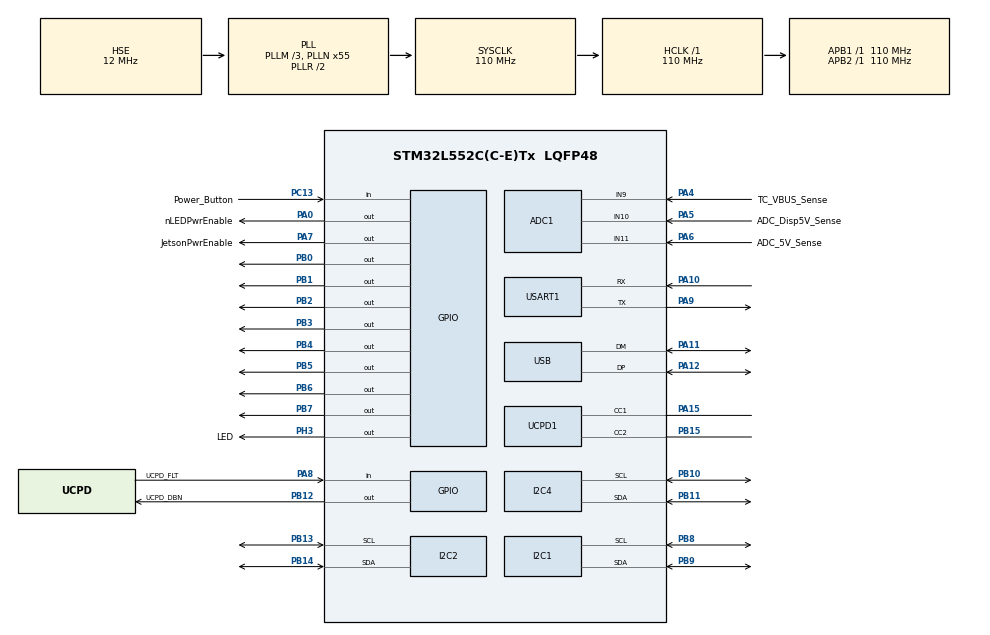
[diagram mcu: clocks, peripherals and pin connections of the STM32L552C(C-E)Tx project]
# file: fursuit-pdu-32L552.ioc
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ADC1.Channel-1\#ChannelRegularConversion=ADC_CHANNEL_9
ADC1.Channel-2\#ChannelRegularConversion=ADC_CHANNEL_10
ADC1.Channel-3\#ChannelRegularConversion=ADC_CHANNEL_11
ADC1.ClockPrescaler=ADC_CLOCK_ASYNC_DIV16
ADC1.ContinuousConvMode=ENABLE
ADC1.DMAContinuousRequests=ENABLE
ADC1.EOCSelection=ADC_EOC_SEQ_CONV
ADC1.NbrOfConversion=3
ADC1.NbrOfConversionFlag=1
ADC1.OffsetNumber-1\#ChannelRegularConversion=ADC_OFFSET_NONE
ADC1.OffsetNumber-2\#ChannelRegularConversion=ADC_OFFSET_NONE
ADC1.OffsetNumber-3\#ChannelRegularConversion=ADC_OFFSET_NONE
ADC1.Overrun=ADC_OVR_DATA_OVERWRITTEN
ADC1.Rank-1\#ChannelRegularConversion=1
ADC1.Rank-2\#ChannelRegularConversion=2
ADC1.Rank-3\#ChannelRegularConversion=3
ADC1.SamplingTime-1\#ChannelRegularConversion=ADC_SAMPLETIME_247CYCLES_5
ADC1.SamplingTime-2\#ChannelRegularConversion=ADC_SAMPLETIME_247CYCLES_5
ADC1.SamplingTime-3\#ChannelRegularConversion=ADC_SAMPLETIME_247CYCLES_5
ADC1.master=1
Dma.ADC1.4.Channel_PRIV_NPRIV=DMA_CHANNEL_NPRIV_DISABLE
Dma.ADC1.4.Direction=DMA_PERIPH_TO_MEMORY
Dma.ADC1.4.EventEnable=DISABLE
Dma.ADC1.4.Instance=DMA1_Channel4
Dma.ADC1.4.MemDataAlignment=DMA_MDATAALIGN_WORD
Dma.ADC1.4.MemInc=DMA_MINC_ENABLE
Dma.ADC1.4.Mode=DMA_CIRCULAR
Dma.ADC1.4.PeriphDataAlignment=DMA_PDATAALIGN_HALFWORD
Dma.ADC1.4.PeriphInc=DMA_PINC_DISABLE
Dma.ADC1.4.Polarity=HAL_DMAMUX_REQ_GEN_RISING
Dma.ADC1.4.Priority=DMA_PRIORITY_LOW
Dma.ADC1.4.RequestNumber=1
Dma.ADC1.4.SignalID=NONE
Dma.ADC1.4.SyncEnable=DISABLE
Dma.ADC1.4.SyncPolarity=HAL_DMAMUX_SYNC_NO_EVENT
Dma.ADC1.4.SyncRequestNumber=1
Dma.ADC1.4.SyncSignalID=NONE
Dma.I2C1_TX.3.Channel_PRIV_NPRIV=DMA_CHANNEL_NPRIV_DISABLE
Dma.I2C1_TX.3.Direction=DMA_MEMORY_TO_PERIPH
Dma.I2C1_TX.3.EventEnable=DISABLE
Dma.I2C1_TX.3.Instance=DMA1_Channel3
Dma.I2C1_TX.3.MemDataAlignment=DMA_MDATAALIGN_BYTE
Dma.I2C1_TX.3.MemInc=DMA_MINC_ENABLE
Dma.I2C1_TX.3.Mode=DMA_NORMAL
Dma.I2C1_TX.3.PeriphDataAlignment=DMA_PDATAALIGN_BYTE
Dma.I2C1_TX.3.PeriphInc=DMA_PINC_DISABLE
Dma.I2C1_TX.3.Polarity=HAL_DMAMUX_REQ_GEN_RISING
Dma.I2C1_TX.3.Priority=DMA_PRIORITY_LOW
Dma.I2C1_TX.3.RequestNumber=1
Dma.I2C1_TX.3.SignalID=NONE
Dma.I2C1_TX.3.SyncEnable=DISABLE
Dma.I2C1_TX.3.SyncPolarity=HAL_DMAMUX_SYNC_NO_EVENT
Dma.I2C1_TX.3.SyncRequestNumber=1
Dma.I2C1_TX.3.SyncSignalID=NONE
Dma.Request0=UCPD1_RX
Dma.Request1=UCPD1_TX
Dma.Request2=USART1_TX
Dma.Request3=I2C1_TX
Dma.Request4=ADC1
Dma.Request5=TIM2_CH2
Dma.Request6=TIM2_CH3
Dma.Request7=TIM2_CH4
Dma.TIM2_CH2.5.Channel_PRIV_NPRIV=DMA_CHANNEL_NPRIV_DISABLE
Dma.TIM2_CH2.5.Direction=DMA_MEMORY_TO_PERIPH
Dma.TIM2_CH2.5.EventEnable=DISABLE
Dma.TIM2_CH2.5.Instance=DMA2_Channel1
Dma.TIM2_CH2.5.MemDataAlignment=DMA_MDATAALIGN_WORD
Dma.TIM2_CH2.5.MemInc=DMA_MINC_DISABLE
Dma.TIM2_CH2.5.Mode=DMA_CIRCULAR
Dma.TIM2_CH2.5.PeriphDataAlignment=DMA_PDATAALIGN_WORD
Dma.TIM2_CH2.5.PeriphInc=DMA_PINC_DISABLE
Dma.TIM2_CH2.5.Polarity=HAL_DMAMUX_REQ_GEN_RISING
Dma.TIM2_CH2.5.Priority=DMA_PRIORITY_VERY_HIGH
Dma.TIM2_CH2.5.RequestNumber=1
Dma.TIM2_CH2.5.SignalID=NONE
Dma.TIM2_CH2.5.SyncEnable=DISABLE
Dma.TIM2_CH2.5.SyncPolarity=HAL_DMAMUX_SYNC_NO_EVENT
Dma.TIM2_CH2.5.SyncRequestNumber=1
Dma.TIM2_CH2.5.SyncSignalID=NONE
Dma.TIM2_CH3.6.Channel_PRIV_NPRIV=DMA_CHANNEL_NPRIV_DISABLE
Dma.TIM2_CH3.6.Direction=DMA_MEMORY_TO_PERIPH
Dma.TIM2_CH3.6.EventEnable=DISABLE
Dma.TIM2_CH3.6.Instance=DMA2_Channel2
Dma.TIM2_CH3.6.MemDataAlignment=DMA_MDATAALIGN_BYTE
Dma.TIM2_CH3.6.MemInc=DMA_MINC_ENABLE
Dma.TIM2_CH3.6.Mode=DMA_NORMAL
Dma.TIM2_CH3.6.PeriphDataAlignment=DMA_PDATAALIGN_BYTE
Dma.TIM2_CH3.6.PeriphInc=DMA_PINC_DISABLE
Dma.TIM2_CH3.6.Polarity=HAL_DMAMUX_REQ_GEN_RISING
Dma.TIM2_CH3.6.Priority=DMA_PRIORITY_VERY_HIGH
Dma.TIM2_CH3.6.RequestNumber=1
Dma.TIM2_CH3.6.SignalID=NONE
Dma.TIM2_CH3.6.SyncEnable=DISABLE
Dma.TIM2_CH3.6.SyncPolarity=HAL_DMAMUX_SYNC_NO_EVENT
Dma.TIM2_CH3.6.SyncRequestNumber=1
Dma.TIM2_CH3.6.SyncSignalID=NONE
Dma.TIM2_CH4.7.Channel_PRIV_NPRIV=DMA_CHANNEL_NPRIV_DISABLE
Dma.TIM2_CH4.7.Direction=DMA_MEMORY_TO_PERIPH
Dma.TIM2_CH4.7.EventEnable=DISABLE
Dma.TIM2_CH4.7.Instance=DMA2_Channel3
Dma.TIM2_CH4.7.MemDataAlignment=DMA_MDATAALIGN_WORD
Dma.TIM2_CH4.7.MemInc=DMA_MINC_DISABLE
Dma.TIM2_CH4.7.Mode=DMA_CIRCULAR
Dma.TIM2_CH4.7.PeriphDataAlignment=DMA_PDATAALIGN_WORD
Dma.TIM2_CH4.7.PeriphInc=DMA_PINC_DISABLE
Dma.TIM2_CH4.7.Polarity=HAL_DMAMUX_REQ_GEN_RISING
Dma.TIM2_CH4.7.Priority=DMA_PRIORITY_VERY_HIGH
Dma.TIM2_CH4.7.RequestNumber=1
Dma.TIM2_CH4.7.SignalID=NONE
Dma.TIM2_CH4.7.SyncEnable=DISABLE
Dma.TIM2_CH4.7.SyncPolarity=HAL_DMAMUX_SYNC_NO_EVENT
Dma.TIM2_CH4.7.SyncRequestNumber=1
Dma.TIM2_CH4.7.SyncSignalID=NONE
Dma.UCPD1_RX.0.Channel_PRIV_NPRIV=DMA_CHANNEL_NPRIV_DISABLE
Dma.UCPD1_RX.0.Direction=DMA_PERIPH_TO_MEMORY
Dma.UCPD1_RX.0.EventEnable=DISABLE
Dma.UCPD1_RX.0.Instance=DMA1_Channel1
Dma.UCPD1_RX.0.MemDataAlignment=DMA_MDATAALIGN_BYTE
Dma.UCPD1_RX.0.MemInc=DMA_MINC_ENABLE
Dma.UCPD1_RX.0.Mode=DMA_NORMAL
Dma.UCPD1_RX.0.PeriphDataAlignment=DMA_PDATAALIGN_BYTE
Dma.UCPD1_RX.0.PeriphInc=DMA_PINC_DISABLE
Dma.UCPD1_RX.0.Polarity=HAL_DMAMUX_REQ_GEN_RISING
Dma.UCPD1_RX.0.Priority=DMA_PRIORITY_LOW
Dma.UCPD1_RX.0.RequestNumber=1
Dma.UCPD1_RX.0.SignalID=NONE
Dma.UCPD1_RX.0.SyncEnable=DISABLE
Dma.UCPD1_RX.0.SyncPolarity=HAL_DMAMUX_SYNC_NO_EVENT
Dma.UCPD1_RX.0.SyncRequestNumber=1
Dma.UCPD1_RX.0.SyncSignalID=NONE
Dma.UCPD1_TX.1.Channel_PRIV_NPRIV=DMA_CHANNEL_NPRIV_DISABLE
Dma.UCPD1_TX.1.Direction=DMA_MEMORY_TO_PERIPH
Dma.UCPD1_TX.1.EventEnable=DISABLE
Dma.UCPD1_TX.1.Instance=DMA1_Channel2
Dma.UCPD1_TX.1.MemDataAlignment=DMA_MDATAALIGN_BYTE
Dma.UCPD1_TX.1.MemInc=DMA_MINC_ENABLE
Dma.UCPD1_TX.1.Mode=DMA_NORMAL
Dma.UCPD1_TX.1.PeriphDataAlignment=DMA_PDATAALIGN_BYTE
Dma.UCPD1_TX.1.PeriphInc=DMA_PINC_DISABLE
Dma.UCPD1_TX.1.Polarity=HAL_DMAMUX_REQ_GEN_RISING
Dma.UCPD1_TX.1.Priority=DMA_PRIORITY_LOW
Dma.UCPD1_TX.1.RequestNumber=1
Dma.UCPD1_TX.1.SignalID=NONE
Dma.UCPD1_TX.1.SyncEnable=DISABLE
Dma.UCPD1_TX.1.SyncPolarity=HAL_DMAMUX_SYNC_NO_EVENT
Dma.UCPD1_TX.1.SyncRequestNumber=1
Dma.UCPD1_TX.1.SyncSignalID=NONE
Dma.USART1_TX.2.Channel_PRIV_NPRIV=DMA_CHANNEL_NPRIV_DISABLE
Dma.USART1_TX.2.Direction=DMA_MEMORY_TO_PERIPH
Dma.USART1_TX.2.EventEnable=DISABLE
Dma.USART1_TX.2.Instance=DMA1_Channel8
Dma.USART1_TX.2.MemDataAlignment=DMA_MDATAALIGN_BYTE
Dma.USART1_TX.2.MemInc=DMA_MINC_ENABLE
Dma.USART1_TX.2.Mode=DMA_NORMAL
Dma.USART1_TX.2.PeriphDataAlignment=DMA_PDATAALIGN_BYTE
Dma.USART1_TX.2.PeriphInc=DMA_PINC_DISABLE
Dma.USART1_TX.2.Polarity=HAL_DMAMUX_REQ_GEN_RISING
Dma.USART1_TX.2.Priority=DMA_PRIORITY_LOW
Dma.USART1_TX.2.RequestNumber=1
Dma.USART1_TX.2.SignalID=NONE
Dma.USART1_TX.2.SyncEnable=DISABLE
Dma.USART1_TX.2.SyncPolarity=HAL_DMAMUX_SYNC_NO_EVENT
Dma.USART1_TX.2.SyncRequestNumber=1
Dma.USART1_TX.2.SyncSignalID=NONE
FREERTOS.HEAP_NUMBER=4
FREERTOS.INCLUDE_eTaskGetState=1
FREERTOS.INCLUDE_pcTaskGetTaskName=0
FREERTOS.INCLUDE_uxTaskGetStackHighWaterMark=1
FREERTOS.INCLUDE_uxTaskGetStackHighWaterMark2=0
FREERTOS.INCLUDE_uxTaskPriorityGet=1
FREERTOS.INCLUDE_vTaskCleanUpResources=0
FREERTOS.INCLUDE_vTaskDelay=1
FREERTOS.INCLUDE_vTaskDelayUntil=1
FREERTOS.INCLUDE_vTaskDelete=1
FREERTOS.INCLUDE_vTaskPrioritySet=1
FREERTOS.INCLUDE_vTaskSuspend=1
FREERTOS.INCLUDE_xEventGroupSetBitFromISR=0
FREERTOS.INCLUDE_xQueueGetMutexHolder=1
FREERTOS.INCLUDE_xSemaphoreGetMutexHolder=0
FREERTOS.INCLUDE_xTaskAbortDelay=1
FREERTOS.INCLUDE_xTaskGetCurrentTaskHandle=1
FREERTOS.INCLUDE_xTaskGetHandle=1
FREERTOS.INCLUDE_xTaskGetSchedulerState=1
FREERTOS.INCLUDE_xTaskResumeFromISR=1
FREERTOS.INCLUDE_xTimerPendFunctionCall=1
FREERTOS.Tasks01=defaultTask,24,128,StartDefaultTask,Default,NULL,Dynamic,NULL,NULL
FREERTOS.configCHECK_FOR_STACK_OVERFLOW=1
FREERTOS.configENABLE_BACKWARD_COMPATIBILITY=1
FREERTOS.configENABLE_FPU=1
FREERTOS.configGENERATE_RUN_TIME_STATS=1
FREERTOS.configIDLE_SHOULD_YIELD=1
FREERTOS.configLIBRARY_LOWEST_INTERRUPT_PRIORITY=7
FREERTOS.configLIBRARY_MAX_SYSCALL_INTERRUPT_PRIORITY=5
FREERTOS.configMAX_CO_ROUTINE_PRIORITIES=2
FREERTOS.configMAX_TASK_NAME_LEN=16
FREERTOS.configMINIMAL_STACK_SIZE=128
FREERTOS.configQUEUE_REGISTRY_SIZE=8
FREERTOS.configRECORD_STACK_HIGH_ADDRESS=0
FREERTOS.configTICK_RATE_HZ=1000
FREERTOS.configTIMER_QUEUE_LENGTH=10
FREERTOS.configTIMER_TASK_PRIORITY=2
FREERTOS.configTIMER_TASK_STACK_DEPTH=256
FREERTOS.configTOTAL_HEAP_SIZE=8192
FREERTOS.configUSE_APPLICATION_TASK_TAG=0
FREERTOS.configUSE_COUNTING_SEMAPHORES=1
FREERTOS.configUSE_CO_ROUTINES=0
FREERTOS.configUSE_DAEMON_TASK_STARTUP_HOOK=0
FREERTOS.configUSE_IDLE_HOOK=1
FREERTOS.configUSE_MALLOC_FAILED_HOOK=0
FREERTOS.configUSE_MUTEXES=1
FREERTOS.configUSE_NEWLIB_REENTRANT=0
FREERTOS.configUSE_OS2_EVENTFLAGS_FROM_ISR=1
FREERTOS.configUSE_OS2_MUTEX=1
FREERTOS.configUSE_OS2_THREAD_ENUMERATE=1
FREERTOS.configUSE_OS2_THREAD_FLAGS=1
FREERTOS.configUSE_OS2_THREAD_SUSPEND_RESUME=1
FREERTOS.configUSE_OS2_TIMER=1
FREERTOS.configUSE_POSIX_ERRNO=0
FREERTOS.configUSE_PREEMPTION=1
FREERTOS.configUSE_RECURSIVE_MUTEXES=1
FREERTOS.configUSE_STATS_FORMATTING_FUNCTIONS=0
FREERTOS.configUSE_TASK_NOTIFICATIONS=1
FREERTOS.configUSE_TICKLESS_IDLE=0
FREERTOS.configUSE_TICK_HOOK=1
FREERTOS.configUSE_TRACE_FACILITY=1
FREERTOS.copyHeapFile=1
I2C1.Timing=0x40505681
I2C2.SMBusPeripheralMode=SMBUS_PERIPHERAL_MODE_SMBUS_HOST
I2C2.Timeout=0x0000853E
I2C2.Timing=0x40505681
I2C4.SMBusPeripheralMode=SMBUS_PERIPHERAL_MODE_SMBUS_HOST
I2C4.Timeout=0x0000853E
I2C4.Timing=0x40505681
Mcu.Family=STM32L5
Mcu.Name=STM32L552C(C-E)Tx
Mcu.Package=LQFP48
Mcu.TrustZone=disable
NVIC.DMA1_Channel1_IRQn=true\:5\:0\:false\:false\:true\:true\:false\:true\:true
NVIC.DMA1_Channel2_IRQn=true\:5\:0\:false\:false\:true\:true\:false\:true\:true
NVIC.DMA1_Channel3_IRQn=true\:5\:0\:false\:false\:true\:false\:false\:true\:true
NVIC.DMA1_Channel4_IRQn=true\:5\:0\:false\:false\:true\:true\:false\:true\:true
NVIC.DMA1_Channel8_IRQn=true\:5\:0\:false\:false\:true\:false\:false\:true\:true
NVIC.DMA2_Channel1_IRQn=true\:5\:0\:false\:false\:true\:true\:false\:true\:true
NVIC.DMA2_Channel2_IRQn=true\:5\:0\:false\:false\:true\:true\:false\:true\:true
NVIC.DMA2_Channel3_IRQn=true\:5\:0\:false\:false\:true\:true\:false\:true\:true
NVIC.I2C1_ER_IRQn=true\:5\:0\:false\:false\:true\:true\:true\:true\:true
NVIC.I2C1_EV_IRQn=true\:5\:0\:false\:false\:true\:true\:true\:true\:true
NVIC.I2C2_ER_IRQn=true\:5\:0\:false\:false\:true\:true\:true\:true\:true
NVIC.I2C2_EV_IRQn=true\:5\:0\:false\:false\:true\:true\:true\:true\:true
NVIC.I2C4_ER_IRQn=true\:5\:0\:false\:false\:true\:true\:true\:true\:true
NVIC.I2C4_EV_IRQn=true\:5\:0\:false\:false\:true\:true\:true\:true\:true
NVIC.PriorityGroup=NVIC_PRIORITYGROUP_3
NVIC.TIM6_IRQn=true\:7\:0\:false\:false\:true\:false\:true\:true\:true
NVIC.TimeBase=TIM6_IRQn
NVIC.TimeBaseIP=TIM6
NVIC.UCPD1_IRQn=true\:5\:0\:false\:false\:true\:true\:false\:false\:true
NVIC.USART1_IRQn=true\:4\:0\:true\:false\:true\:false\:true\:true\:true
NVIC.USB_FS_IRQn=true\:5\:0\:false\:false\:true\:true\:false\:true\:true
PA0.GPIO_Label=nLEDPwrEnable
PA0.GPIO_ModeDefaultOutputPP=GPIO_MODE_OUTPUT_OD
PA0.GPIO_PuPd=GPIO_NOPULL
PA0.PinState=GPIO_PIN_SET
PA0.Signal=GPIO_Output
PA10.Mode=Asynchronous
PA10.Signal=USART1_RX
PA11.Mode=Device
PA11.Signal=USB_DM
PA12.Mode=Device
PA12.Signal=USB_DP
PA13\ (JTMS/SWDIO).Mode=Serial_Wire
PA13\ (JTMS/SWDIO).Signal=DEBUG_JTMS-SWDIO
PA14\ (JTCK/SWCLK).Mode=Serial_Wire
PA14\ (JTCK/SWCLK).Signal=DEBUG_JTCK-SWCLK
PA15\ (JTDI).Mode=Sink_AllSignals
PA15\ (JTDI).Signal=UCPD1_CC1
PA4.GPIO_Label=TC_VBUS_Sense
PA4.Signal=ADCx_IN9
PA5.GPIO_Label=ADC_Disp5V_Sense
PA5.Signal=ADCx_IN10
PA6.GPIO_Label=ADC_5V_Sense
PA6.Signal=ADCx_IN11
PA7.GPIO_Label=JetsonPwrEnable
PA7.GPIO_ModeDefaultOutputPP=GPIO_MODE_OUTPUT_PP
PA7.GPIO_PuPd=GPIO_NOPULL
PA7.PinState=GPIO_PIN_RESET
PA7.Signal=GPIO_Output
PA8.GPIO_Label=UCPD_FLT
PA8.GPIO_PuPd=GPIO_PULLUP
PA8.Signal=GPIO_Input
PA9.Mode=Asynchronous
PA9.Signal=USART1_TX
PB0.GPIO_ModeDefaultOutputPP=GPIO_MODE_OUTPUT_PP
PB0.GPIO_PuPd=GPIO_NOPULL
PB0.GPIO_Speed=GPIO_SPEED_FREQ_MEDIUM
PB0.PinState=GPIO_PIN_RESET
PB0.Signal=GPIO_Output
PB1.GPIO_ModeDefaultOutputPP=GPIO_MODE_OUTPUT_PP
PB1.GPIO_PuPd=GPIO_NOPULL
PB1.GPIO_Speed=GPIO_SPEED_FREQ_MEDIUM
PB1.PinState=GPIO_PIN_RESET
PB1.Signal=GPIO_Output
PB10.Mode=SMBus-two-wire-Interface
PB10.Signal=I2C4_SCL
PB11.Mode=SMBus-two-wire-Interface
PB11.Signal=I2C4_SDA
PB12.GPIO_Label=UCPD_DBN
PB12.Signal=GPIO_Output
PB13.GPIO_Pu=GPIO_PULLUP
PB13.Mode=SMBus-two-wire-Interface
PB13.Signal=I2C2_SCL
PB14.GPIO_Pu=GPIO_PULLUP
PB14.Mode=SMBus-two-wire-Interface
PB14.Signal=I2C2_SDA
PB15.Mode=Sink_AllSignals
PB15.Signal=UCPD1_CC2
PB2.GPIO_ModeDefaultOutputPP=GPIO_MODE_OUTPUT_PP
PB2.GPIO_PuPd=GPIO_NOPULL
PB2.GPIO_Speed=GPIO_SPEED_FREQ_MEDIUM
PB2.PinState=GPIO_PIN_RESET
PB2.Signal=GPIO_Output
PB3\ (JTDO/TRACESWO).GPIO_ModeDefaultOutputPP=GPIO_MODE_OUTPUT_PP
PB3\ (JTDO/TRACESWO).GPIO_PuPd=GPIO_NOPULL
PB3\ (JTDO/TRACESWO).GPIO_Speed=GPIO_SPEED_FREQ_MEDIUM
PB3\ (JTDO/TRACESWO).PinAttribute=Free
PB3\ (JTDO/TRACESWO).PinState=GPIO_PIN_RESET
PB3\ (JTDO/TRACESWO).Signal=GPIO_Output
PB4\ (NJTRST).GPIO_ModeDefaultOutputPP=GPIO_MODE_OUTPUT_PP
PB4\ (NJTRST).GPIO_PuPd=GPIO_NOPULL
PB4\ (NJTRST).GPIO_Speed=GPIO_SPEED_FREQ_MEDIUM
PB4\ (NJTRST).PinAttribute=Free
PB4\ (NJTRST).PinState=GPIO_PIN_RESET
PB4\ (NJTRST).Signal=GPIO_Output
PB5.GPIO_ModeDefaultOutputPP=GPIO_MODE_OUTPUT_PP
PB5.GPIO_PuPd=GPIO_NOPULL
PB5.GPIO_Speed=GPIO_SPEED_FREQ_MEDIUM
PB5.PinAttribute=Free
PB5.PinState=GPIO_PIN_RESET
PB5.Signal=GPIO_Output
PB6.GPIO_ModeDefaultOutputPP=GPIO_MODE_OUTPUT_PP
PB6.GPIO_PuPd=GPIO_NOPULL
PB6.GPIO_Speed=GPIO_SPEED_FREQ_MEDIUM
PB6.PinAttribute=Free
PB6.PinState=GPIO_PIN_RESET
PB6.Signal=GPIO_Output
PB7.GPIO_ModeDefaultOutputPP=GPIO_MODE_OUTPUT_PP
PB7.GPIO_PuPd=GPIO_NOPULL
PB7.GPIO_Speed=GPIO_SPEED_FREQ_MEDIUM
PB7.PinAttribute=Free
PB7.PinState=GPIO_PIN_RESET
PB7.Signal=GPIO_Output
PB8.GPIO_FM8=__NULL
PB8.GPIO_Mode=GPIO_MODE_AF_OD
PB8.GPIO_Pu=GPIO_NOPULL
PB8.GPIO_Speed=GPIO_SPEED_FREQ_LOW
PB8.Mode=I2C
PB8.PinAttribute=Free
PB8.Signal=I2C1_SCL
PB9.GPIO_FM9=__NULL
PB9.GPIO_Mode=GPIO_MODE_AF_OD
PB9.GPIO_Pu=GPIO_NOPULL
PB9.GPIO_Speed=GPIO_SPEED_FREQ_LOW
PB9.Mode=I2C
PB9.PinAttribute=Free
PB9.Signal=I2C1_SDA
PC13.GPIO_Label=Power_Button
PC13.GPIO_PuPd=GPIO_PULLUP
PC13.Signal=GPIO_Input
PC14-OSC32_IN\ (PC14).Mode=LSE-External-Oscillator
PC14-OSC32_IN\ (PC14).Signal=RCC_OSC32_IN
PC15-OSC32_OUT\ (PC15).Mode=LSE-External-Oscillator
PC15-OSC32_OUT\ (PC15).Signal=RCC_OSC32_OUT
PH0-OSC_IN\ (PH0).Mode=HSE-External-Oscillator
PH0-OSC_IN\ (PH0).Signal=RCC_OSC_IN
PH1-OSC_OUT\ (PH1).Mode=HSE-External-Oscillator
PH1-OSC_OUT\ (PH1).Signal=RCC_OSC_OUT
PH3-BOOT0.GPIO_Label=LED
PH3-BOOT0.PinAttribute=Free
PH3-BOOT0.Signal=GPIO_Output
ProjectManager.HeapSize=0x200
ProjectManager.StackSize=0x400
ProjectManager.TargetToolchain=Makefile
RCC.ADCCLockSelection=RCC_ADCCLKSOURCE_SYSCLK
RCC.ADCFreq_Value=110000000
RCC.AHBFreq_Value=110000000
RCC.APB1Freq_Value=110000000
RCC.APB1TimFreq_Value=110000000
RCC.APB2Freq_Value=110000000
RCC.APB2TimFreq_Value=110000000
RCC.CortexFreq_Value=110000000
RCC.HCLKFreq_Value=110000000
RCC.HSE_VALUE=12000000
RCC.HSI48_VALUE=48000000
RCC.HSI_VALUE=16000000
RCC.MSI_VALUE=4000000
RCC.PLLM=3
RCC.PLLN=55
RCC.PLLSAI1M=2
RCC.PLLSAI1N=16
RCC.PLLSAI1Source=RCC_PLLSAI1SOURCE_HSE
RCC.PLLSourceVirtual=RCC_PLLSOURCE_HSE
RCC.RTCClockSelection=RCC_RTCCLKSOURCE_LSE
RCC.SYSCLKFreq_VALUE=110000000
RCC.SYSCLKSource=RCC_SYSCLKSOURCE_PLLCLK
RCC.USBFreq_Value=48000000
RCC.VCOOutputFreq_Value=220000000
RTC.AsynchPrediv=127
RTC.HourFormat=RTC_HOURFORMAT_24
RTC.RTC_PRIVILEGE_FEATURE_ALRA=__NULL
RTC.RTC_PRIVILEGE_FEATURE_ALRB=__NULL
RTC.RTC_PRIVILEGE_FEATURE_CAL=__NULL
RTC.RTC_PRIVILEGE_FEATURE_INIT=__NULL
RTC.RTC_PRIVILEGE_FEATURE_TS=__NULL
RTC.RTC_PRIVILEGE_FEATURE_WUT=__NULL
RTC.SynchPrediv=255
RTC.backupRegisterPrivZone=RTC_PRIVILEGE_BKUP_ZONE_NONE
RTC.backupRegisterStartZone2_g=0
RTC.backupRegisterStartZone3_g=0
RTC.rtcPrivilegeFull=RTC_PRIVILEGE_FULL_NO
SH.ADCx_IN10.0=ADC1_IN10,IN10-Single-Ended
SH.ADCx_IN11.0=ADC1_IN11,IN11-Single-Ended
SH.ADCx_IN9.0=ADC1_IN9,IN9-Single-Ended
TIM2.Channel-Output\ Compare2\ No\ Output=TIM_CHANNEL_2
TIM2.Channel-Output\ Compare3\ No\ Output=TIM_CHANNEL_3
TIM2.Channel-Output\ Compare4\ No\ Output=TIM_CHANNEL_4
TIM2.OCMode_2=TIM_OCMODE_ACTIVE
TIM2.OCMode_3=TIM_OCMODE_ACTIVE
TIM2.OCMode_4=TIM_OCMODE_ACTIVE
TIM2.Period=136
TIM2.Prescaler=0
TIM2.Pulse-Output\ Compare2\ No\ Output=1
TIM2.Pulse-Output\ Compare3\ No\ Output=36
TIM2.Pulse-Output\ Compare4\ No\ Output=92
TIM3.Channel-PWM\ Generation1\ No\ Output=TIM_CHANNEL_1
TIM3.OCMode_PWM-PWM\ Generation1\ No\ Output=TIM_OCMODE_PWM2
TIM3.Period=256
TIM3.Prescaler=136
TIM3.Pulse-PWM\ Generation1\ No\ Output=300
TIM3.TIM_MasterOutputTrigger=TIM_TRGO_OC1REF
TIM3.TIM_MasterSlaveMode=TIM_MASTERSLAVEMODE_ENABLE
TIM7.AutoReloadPreload=TIM_AUTORELOAD_PRELOAD_DISABLE
TIM7.CounterMode=TIM_COUNTERMODE_UP
TIM7.Period=65535
TIM7.Prescaler=0
TIM7.TIM_MasterOutputTrigger=TIM_TRGO_RESET
USART1.VirtualMode-Asynchronous=VM_ASYNC
USB.DeviceSpeed=PCD_SPEED_FULL
USB.Sof_enable=DISABLE
USB.battery_charging_enable=DISABLE
USB.low_power_enable=DISABLE
USB.lpm_enable=DISABLE
USB.phy_itface=PCD_PHY_EMBEDDED
USB_DEVICE.APP_RX_DATA_SIZE=128
USB_DEVICE.APP_TX_DATA_SIZE=128
USB_DEVICE.CLASS_NAME_FS=CDC
USB_DEVICE.CONFIGURATION_STRING_CDC_FS=CDC Config
USB_DEVICE.INTERFACE_STRING_CDC_FS=CDC Interface
USB_DEVICE.LANGID_STRING=1033
USB_DEVICE.MANUFACTURER_STRING=STMicroelectronics
USB_DEVICE.PID_CDC_FS=22336
USB_DEVICE.PRODUCT_STRING_CDC_FS=STM32 Virtual ComPort
USB_DEVICE.USBD_DEBUG_LEVEL=0
USB_DEVICE.USBD_LPM_ENABLED=1
USB_DEVICE.USBD_MAX_NUM_CONFIGURATION=1
USB_DEVICE.USBD_MAX_NUM_INTERFACES=1
USB_DEVICE.USBD_MAX_STR_DESC_SIZ=512
USB_DEVICE.USBD_SELF_POWERED=1
USB_DEVICE.VID=1155
USB_DEVICE.VirtualMode=Cdc
USB_DEVICE.VirtualModeFS=Cdc_FS
VP_FREERTOS_VS_CMSIS_V2.Mode=CMSIS_V2
VP_ICACHE_VS_ICACHE.Mode=DefaultMode
VP_PWR_VS_DBSignals.Mode=DisableDeadBatterySignals
VP_PWR_VS_SECSignals.Mode=Security/Privilege
VP_RTC_VS_RTC_Activate.Mode=RTC_Enabled
VP_SYS_VS_tim6.Mode=TIM6
VP_TIM2_VS_ClockSourceINT.Mode=Internal
VP_TIM2_VS_ClockSourceITR.Mode=TriggerSource_ITR2
VP_TIM2_VS_ControllerModeGated.Mode=Gated Mode
VP_TIM2_VS_no_output2.Mode=Output Compare2 No Output
VP_TIM2_VS_no_output3.Mode=Output Compare3 No Output
VP_TIM2_VS_no_output4.Mode=Output Compare4 No Output
VP_TIM3_VS_ClockSourceINT.Mode=Internal
VP_TIM3_VS_OPM.Mode=OPM_bit
VP_TIM3_VS_no_output1.Mode=PWM Generation1 No Output
VP_TIM7_VS_ClockSourceINT.Mode=Enable_Timer
VP_USBPD_VS_PD3MINSNK.Mode=PD3_Min_Snk
VP_USBPD_VS_USBPD1.Mode=USBPD_P0
VP_USBPD_VS_usbpd_tim8.Mode=TIM8
VP_USB_DEVICE_VS_USB_DEVICE_CDC_FS.Mode=CDC_FS
board=NUCLEO-L552ZE-Q

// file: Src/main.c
/* USER CODE BEGIN Header */
/**
  ******************************************************************************
  * @file           : main.c
  * @brief          : Main program body
  ******************************************************************************
  * @attention
  *
  * Copyright (c) 2023 STMicroelectronics.
  * All rights reserved.
  *
  * This software is licensed under terms that can be found in the LICENSE file
  * in the root directory of this software component.
  * If no LICENSE file comes with this software, it is provided AS-IS.
  *
  ******************************************************************************
  */
/* USER CODE END Header */
#include "main.h"
#include "cmsis_os.h"
#include "adc.h"
#include "dma.h"
#include "i2c.h"
#include "icache.h"
#include "rtc.h"
#include "tim.h"
#include "ucpd.h"
#include "usart.h"
#include "usbpd.h"
#include "usb_device.h"
#include "gpio.h"

/* USER CODE BEGIN Includes */
#include "log.h"
/* USER CODE END Includes */

/* USER CODE BEGIN PD */

// Shim function to work around an STM32CubeMX bug (as of v6.8.1) for STM32L5 processors:
//
// HSI isn't automatically enabled with the UCPD peripheral, but is the
// only clock input for that peripheral and is required for it to operate.
// If the primary system clock and PLLs are all running off of different
// sources, HSI will be disabled and the UCPD peripheral will not work.
//
// As a workaround, we force-enable the HSI before passing the parameters on to HAL_RCC_OscConfig.
static inline HAL_StatusTypeDef HAL_RCC_OscConfig_Shim(RCC_OscInitTypeDef  *RCC_OscInitStruct) {
  RCC_OscInitStruct->HSIState = RCC_HSI_ON;
  RCC_OscInitStruct->OscillatorType |= RCC_OSCILLATORTYPE_HSI;
  RCC_OscInitStruct->HSICalibrationValue = RCC_HSICALIBRATION_DEFAULT;
  return HAL_RCC_OscConfig(RCC_OscInitStruct);
}

#define HAL_RCC_OscConfig HAL_RCC_OscConfig_Shim

/* USER CODE END PD */

void SystemClock_Config(void);
void MX_FREERTOS_Init(void);

int main(void)
{
  /* USER CODE BEGIN 1 */

  //setvbuf(stderr, NULL, _IOLBF, 0);
  /* USER CODE END 1 */

  /* MCU Configuration--------------------------------------------------------*/

  /* Reset of all peripherals, Initializes the Flash interface and the Systick. */
  HAL_Init();

  /* Configure the system clock */
  SystemClock_Config();

  /* Initialize all configured peripherals */
  MX_GPIO_Init();
  MX_DMA_Init();
  MX_ADC1_Init();
  MX_RTC_Init();
  MX_UCPD1_Init();
  MX_I2C1_Init();
  MX_USB_Device_Init();
  MX_TIM7_Init();
  MX_I2C2_SMBUS_Init();
  MX_USART1_UART_Init();
  MX_ICACHE_Init();
  MX_I2C4_SMBUS_Init();
  MX_TIM2_Init();
  MX_TIM3_Init();
  /* USER CODE BEGIN 2 */

  logprintf("main() done\n");

  /* USER CODE END 2 */

  /* Init scheduler */
  osKernelInitialize();
  /* USBPD initialisation ---------------------------------*/
  MX_USBPD_Init();  /* Call init function for freertos objects (in freertos.c) */
  MX_FREERTOS_Init();

  /* Start scheduler */
  osKernelStart();
  /* We should never get here as control is now taken by the scheduler */
  /* Infinite loop */
  while (1)
  {

  }
}

void SystemClock_Config(void)
{
  RCC_OscInitTypeDef RCC_OscInitStruct = {0};
  RCC_ClkInitTypeDef RCC_ClkInitStruct = {0};

  /** Configure the main internal regulator output voltage
  */
  if (HAL_PWREx_ControlVoltageScaling(PWR_REGULATOR_VOLTAGE_SCALE0) != HAL_OK)
  {
    Error_Handler();
  }

  /** Configure LSE Drive Capability
  */
  HAL_PWR_EnableBkUpAccess();
  __HAL_RCC_LSEDRIVE_CONFIG(RCC_LSEDRIVE_LOW);

  /** Initializes the RCC Oscillators according to the specified parameters
  * in the RCC_OscInitTypeDef structure.
  */
  RCC_OscInitStruct.OscillatorType = RCC_OSCILLATORTYPE_HSE|RCC_OSCILLATORTYPE_LSE;
  RCC_OscInitStruct.HSEState = RCC_HSE_ON;
  RCC_OscInitStruct.LSEState = RCC_LSE_ON;
  RCC_OscInitStruct.PLL.PLLState = RCC_PLL_ON;
  RCC_OscInitStruct.PLL.PLLSource = RCC_PLLSOURCE_HSE;
  RCC_OscInitStruct.PLL.PLLM = 3;
  RCC_OscInitStruct.PLL.PLLN = 55;
  RCC_OscInitStruct.PLL.PLLP = RCC_PLLP_DIV7;
  RCC_OscInitStruct.PLL.PLLQ = RCC_PLLQ_DIV2;
  RCC_OscInitStruct.PLL.PLLR = RCC_PLLR_DIV2;
  if (HAL_RCC_OscConfig(&RCC_OscInitStruct) != HAL_OK)
  {
    Error_Handler();
  }

  /** Initializes the CPU, AHB and APB buses clocks
  */
  RCC_ClkInitStruct.ClockType = RCC_CLOCKTYPE_HCLK|RCC_CLOCKTYPE_SYSCLK
                              |RCC_CLOCKTYPE_PCLK1|RCC_CLOCKTYPE_PCLK2;
  RCC_ClkInitStruct.SYSCLKSource = RCC_SYSCLKSOURCE_PLLCLK;
  RCC_ClkInitStruct.AHBCLKDivider = RCC_SYSCLK_DIV1;
  RCC_ClkInitStruct.APB1CLKDivider = RCC_HCLK_DIV1;
  RCC_ClkInitStruct.APB2CLKDivider = RCC_HCLK_DIV1;

  if (HAL_RCC_ClockConfig(&RCC_ClkInitStruct, FLASH_LATENCY_5) != HAL_OK)
  {
    Error_Handler();
  }
}

void HAL_TIM_PeriodElapsedCallback(TIM_HandleTypeDef *htim)
{
  if (htim->Instance == TIM6) {
    HAL_IncTick();
  }
}

void Error_Handler(void)
{
  __disable_irq();
  while (1)
  {
  }
}

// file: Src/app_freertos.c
/* USER CODE BEGIN Header */
/**
  ******************************************************************************
  * File Name          : app_freertos.c
  * Description        : Code for freertos applications
  ******************************************************************************
  * @attention
  *
  * Copyright (c) 2023 STMicroelectronics.
  * All rights reserved.
  *
  * This software is licensed under terms that can be found in the LICENSE file
  * in the root directory of this software component.
  * If no LICENSE file comes with this software, it is provided AS-IS.
  *
  ******************************************************************************
  */
/* USER CODE END Header */

#include "FreeRTOS.h"
#include "task.h"
#include "main.h"
#include "cmsis_os.h"

/* USER CODE BEGIN Includes */
#include "stream_buffer.h"
#include "stm32l5xx_ll_tim.h"
#include <stdio.h>
#include "Buttons.h"
#include "log.h"
#include <stdlib.h>
/* USER CODE END Includes */

/* USER CODE BEGIN Variables */

StreamBufferHandle_t usbRxStream;
#define usbRxStreamSize 127
static StaticStreamBuffer_t staticUsbRxStream;
static uint8_t staticUsbRxStreamStorage[usbRxStreamSize + 1];

StreamBufferHandle_t usbTxStream;
#define usbTxStreamSize 127
static StaticStreamBuffer_t staticUsbTxStream;
static uint8_t staticUsbTxStreamStorage[usbTxStreamSize + 1];

#define DECLARE_TASK(TaskName, StackSizeInWords) \
  TaskHandle_t TaskName##Handle;                   \
  uint32_t TaskName##Stack[StackSizeInWords];    \
  StaticTask_t TaskName##ControlBlock;    \
  extern void Task_##TaskName(void *arg);  \
  static const uint32_t TaskName##_StackSize = StackSizeInWords;

#define START_TASK(TaskName, Priority) \
  TaskName##Handle = xTaskCreateStatic(Task_##TaskName, #TaskName, TaskName##_StackSize, /*arg=*/ 0, Priority, TaskName##Stack, &TaskName##ControlBlock);

DECLARE_TASK(USB_Tx, 128);
DECLARE_TASK(Shell, 256);
DECLARE_TASK(PowerManagement, 256);
DECLARE_TASK(Display, 256);
DECLARE_TASK(WS2812, 256);

/* USER CODE END Variables */
/* Definitions for defaultTask */
osThreadId_t defaultTaskHandle;
const osThreadAttr_t defaultTask_attributes = {
  .name = "defaultTask",
  .priority = (osPriority_t) osPriorityNormal,
  .stack_size = 128 * 4
};

void StartDefaultTask(void *argument);

void MX_FREERTOS_Init(void); /* (MISRA C 2004 rule 8.1) */

/* Hook prototypes */
void configureTimerForRunTimeStats(void);
unsigned long getRunTimeCounterValue(void);
void vApplicationIdleHook(void);
void vApplicationTickHook(void);
void vApplicationStackOverflowHook(xTaskHandle xTask, signed char *pcTaskName);

/* USER CODE BEGIN 1 */
/* Functions needed when configGENERATE_RUN_TIME_STATS is on */
#define PERF_TIMER TIM7
void configureTimerForRunTimeStats(void)
{
  LL_TIM_DisableCounter(PERF_TIMER);
  LL_TIM_DisableARRPreload(PERF_TIMER);
  LL_TIM_SetAutoReload(PERF_TIMER, IS_TIM_32B_COUNTER_INSTANCE(PERF_TIMER) ? 0xffffffffUL : 0xffffUL);
  LL_TIM_SetCounter(PERF_TIMER, 0);
  LL_TIM_SetPrescaler(PERF_TIMER, (F_CPU / 10000UL));
  if (IS_TIM_COUNTER_MODE_SELECT_INSTANCE(PERF_TIMER)) {
    LL_TIM_SetCounterMode(PERF_TIMER, LL_TIM_COUNTERMODE_UP);
  }
  LL_TIM_EnableCounter(PERF_TIMER);
}

unsigned long getRunTimeCounterValue(void)
{
  return LL_TIM_GetCounter(PERF_TIMER);
}
/* USER CODE END 1 */

/* USER CODE BEGIN 2 */
void vApplicationIdleHook( void )
{
   /* vApplicationIdleHook() will only be called if configUSE_IDLE_HOOK is set
   to 1 in FreeRTOSConfig.h. It will be called on each iteration of the idle
   task. It is essential that code added to this hook function never attempts
   to block in any way (for example, call xQueueReceive() with a block time
   specified, or call vTaskDelay()). If the application makes use of the
   vTaskDelete() API function (as this demo application does) then it is also
   important that vApplicationIdleHook() is permitted to return to its calling
   function, because it is the responsibility of the idle task to clean up
   memory allocated by the kernel to any task that has since been deleted. */

   __WFI();
}
/* USER CODE END 2 */

/* USER CODE BEGIN 3 */
void vApplicationTickHook( void )
{
   /* This function will be called by each tick interrupt if
   configUSE_TICK_HOOK is set to 1 in FreeRTOSConfig.h. User code can be
   added here, but the tick hook is called from an interrupt context, so
   code must not attempt to block, and only the interrupt safe FreeRTOS API
   functions can be used (those that end in FromISR()). */

  // Blink the LED to show that the system is still alive
  TickType_t ticks = xTaskGetTickCount();
  if (ticks & 0x200) {
    LL_GPIO_SetOutputPin(LED_GPIO_Port, LED_Pin);
  } else {
    LL_GPIO_ResetOutputPin(LED_GPIO_Port, LED_Pin);
  }

  // Run UI button debouncing and handlers
  Button_TickHook();
}
/* USER CODE END 3 */

/* USER CODE BEGIN 4 */
void vApplicationStackOverflowHook(xTaskHandle xTask, signed char *pcTaskName)
{
  /* Run time stack overflow checking is performed if
  configCHECK_FOR_STACK_OVERFLOW is defined to 1 or 2. This hook function is
  called if a stack overflow is detected. */

  logprintf("FATAL: Stack overflow in task %s\n", pcTaskName);

  abort();
}

/* USER CODE END 4 */

void MX_FREERTOS_Init(void) {
  /* USER CODE BEGIN Init */
  usbRxStream = xStreamBufferCreateStatic(usbRxStreamSize, /*triggerLevel=*/1, staticUsbRxStreamStorage, &staticUsbRxStream);
  usbTxStream = xStreamBufferCreateStatic(usbTxStreamSize, /*triggerLevel=*/1, staticUsbTxStreamStorage, &staticUsbTxStream);
  /* USER CODE END Init */

  /* USER CODE BEGIN RTOS_QUEUES */
/* add queues, ... */

#if 0 // disable useless default task
  /* USER CODE END RTOS_QUEUES */

  /* Create the thread(s) */
  /* creation of defaultTask */
  defaultTaskHandle = osThreadNew(StartDefaultTask, NULL, &defaultTask_attributes);

  /* USER CODE BEGIN RTOS_THREADS */
#endif

  START_TASK(Shell, osPriorityNormal);
  START_TASK(USB_Tx, osPriorityHigh);
  START_TASK(PowerManagement, osPriorityNormal);
  START_TASK(Display, osPriorityNormal);
  START_TASK(WS2812, osPriorityNormal);

  /* USER CODE END RTOS_THREADS */

}

void StartDefaultTask(void *argument)
{
  for(;;)
  {
    osDelay(1);
  }
}
